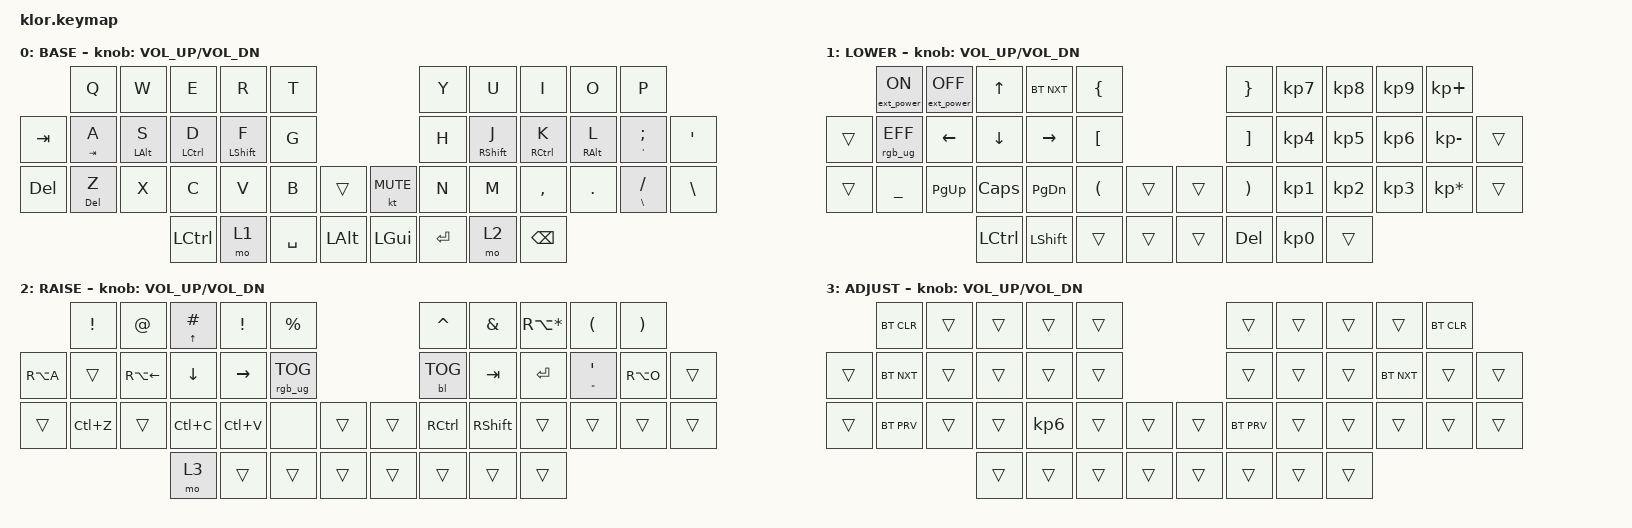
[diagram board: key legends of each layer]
//                               █         █    █            ▄▄▄▀▀▀▀▀▀▄▄▄        █▀▀▀▀▀▀▀▀▀▀█
//                               █        █     █          ▄▀            ▀▄      █          █
//                               █       █      █        ▄▀                ▀▄    █          █
//                               █      █       █        █                  █    █          █
//                               █     █        █       █                    █   █          █
//                               █    █         █       █                    █   █▄▄▄▄▄▄▄▄▄▄█
//                               █   █ █        █       █                    █   █      █
//                               █  █   █       █        █                  █    █       █
//                               █ █     █      █        ▀▄                ▄▀    █        █
//                               ██       █     █          ▀▄            ▄▀      █         █
//                               █         █    █▄▄▄▄▄▄▄▄    ▀▀▀▄▄▄▄▄▄▀▀▀        █          █
//
// ▄▄▄▄▄▄▄▄▄▄▄▄▄▄▄▄▄▄▄▄▄▄▄▄▄▄▄▄▄▄▄▄▄▄▄▄▄▄▄▄▄▄▄▄▄▄▄▄▄▄▄▄▄▄▄▄▄▄▄▄▄▄▄▄▄▄▄▄▄▄▄▄▄▄▄▄▄▄▄▄▄▄▄▄▄▄▄▄▄▄▄▄▄▄▄▄▄▄▄▄▄▄▄▄▄▄▄▄▄▄▄▄▄▄▄▄▄▄▄▄▄▄▄▄▄

#include <behaviors.dtsi>
#include <dt-bindings/zmk/backlight.h>
#include <dt-bindings/zmk/bt.h>
#include <dt-bindings/zmk/ext_power.h>
#include <dt-bindings/zmk/keys.h>
#include <dt-bindings/zmk/keys.h>
#include <dt-bindings/zmk/rgb.h>

#define BASE   0
#define LOWER  1
#define RAISE  2
#define ADJUST 3

/ {
    behaviors {
        hm: homerow_mods {
            compatible = "zmk,behavior-hold-tap";
            label = "HOMEROW_MODS";
            #binding-cells = <2>;
            tapping-term-ms = <250>;
            quick_tap_ms = <0>;
            flavor = "tap-preferred";
            bindings = <&kp>, <&kp>;
        };
    };

    combos {
        compatible = "zmk,combos";

        combo_esc {
            timeout-ms = <50>;
            key-positions = <0 1>;
            bindings = <&kp ESC>;
        };
    };

    keymap {
        compatible = "zmk,keymap";

        // ▄▄▄▄▄▄▄▄▄▄▄▄▄▄▄▄▄▄▄▄▄▄▄▄▄▄▄▄▄▄▄▄▄▄▄▄▄▄▄▄▄▄▄▄▄▄▄▄▄▄▄▄▄▄▄▄▄▄▄▄▄▄▄▄▄▄▄▄▄▄▄▄▄▄▄▄▄▄▄▄▄▄▄▄▄▄▄▄▄▄▄▄▄▄▄▄▄▄▄▄▄▄▄▄▄▄▄▄▄▄▄▄▄▄▄▄▄▄▄▄▄▄▄▄▄▄▄▄▄▄▄▄▄▄▄▄▄▄▄▄▄▄

        base_layer {
            // ┌───────────────────────────────────────────────────────────┐

            label = "BASE";

            // └───────────────────────────────────────────────────────────┘
            /*           ┌─────────┬─────────┬─────────┬─────────┬─────────┐                    ┌─────────┬─────────┬─────────┬─────────┬─────────┐
             │    Q    │    W    │    F    │    P    │    G    │                    │    J    │    L    │    U    │    Y    │    ;    │   
   ┌─────────┼─────────┼─────────┼─────────┼─────────┼─────────┤                    ├─────────┼─────────┼─────────┼─────────┼─────────┼─────────┐
   │   TAB   │    A    │    R    │    S    │    T    │    D    │                    │    H    │    N    │    E    │    I    │    O    │    "    │
   ├─────────┼─────────┼─────────┼─────────┼─────────┼─────────┤╭────────╮╭────────╮├─────────┼─────────┼─────────┼─────────┼─────────┼─────────┤
   │   DEL   │    Z    │    X    │    C    │    V    │    B    ││  MUTE  ││PLY/PSE ││    K    │    M    │    ,    │    .    │    /    │    \    │
   └─────────┴─────────┴─────────┼─────────┼─────────┼─────────┼╰────────╯╰────────╯┼─────────┼─────────┼─────────┼─────────┴─────────┴─────────┘
                                 │  CTRL   │  LOWER  │  SPACE  │   ALT   ││ CMD/WIN │  ENTER  │  RAISE  │  BSPCE  │  
                                 └─────────┴─────────┴─────────┴─────────┘└─────────┴─────────┴─────────┴─────────┘ */

            bindings = <
         &kp Q         &kp W           &kp E               &kp R             &kp T                            &kp Y    &kp U              &kp I                &kp O            &kp P
&kp TAB  &hm TAB A     &hm LEFT_ALT S  &hm LEFT_CONTROL D  &hm LEFT_SHIFT F  &kp G                            &kp H    &hm RIGHT_SHIFT J  &hm RIGHT_CONTROL K  &hm RIGHT_ALT L  &hm APOS SEMICOLON   &kp SQT
&kp DEL  &hm DELETE Z  &kp X           &kp C               &kp V             &kp B      &trans    &kt K_MUTE  &kp N    &kp M              &kp COMMA            &kp PERIOD       &mt BACKSLASH SLASH  &kp BSLH
                                       &kp LCTRL           &mo 1             &kp SPACE  &kp LALT  &kp LGUI    &kp RET  &mo 2              &kp BSPC
            >;

            sensor-bindings = <&inc_dec_kp C_VOL_UP C_VOL_DN>;
        };

        // ▄▄▄▄▄▄▄▄▄▄▄▄▄▄▄▄▄▄▄▄▄▄▄▄▄▄▄▄▄▄▄▄▄▄▄▄▄▄▄▄▄▄▄▄▄▄▄▄▄▄▄▄▄▄▄▄▄▄▄▄▄▄▄▄▄▄▄▄▄▄▄▄▄▄▄▄▄▄▄▄▄▄▄▄▄▄▄▄▄▄▄▄▄▄▄▄▄▄▄▄▄▄▄▄▄▄▄▄▄▄▄▄▄▄▄▄▄▄▄▄▄▄▄▄▄▄▄▄▄▄▄▄▄▄▄▄▄▄▄▄▄▄

        lower_layer {
            // ┌───────────────────────────────────────────────────────────┐

            label = "LOWER";

            // └───────────────────────────────────────────────────────────┘
            /*           ┌─────────┬─────────┬─────────┬─────────┬─────────┐                    ┌─────────┬─────────┬─────────┬─────────┬─────────┐
             │         │         │    UP   │         │    {    │                    │    }    │    7    │    8    │    9    │    +    │
   ┌─────────┼─────────┼─────────┼─────────┼─────────┼─────────┤                    ├─────────┼─────────┼─────────┼─────────┼─────────┼─────────┐
   │         │         │   LEFT  │  DOWN   │  RIGHT  │    [    │                    │    ]    │    4    │    5    │    6    │    -    │         │
   ├─────────┼─────────┼─────────┼─────────┼─────────┼─────────┤╭────────╮╭────────╮├─────────┼─────────┼─────────┼─────────┼─────────┼─────────┤
   │         │         │   P UP  │ C LOCK  │ P DOWN  │    (    ││        ││        ││    )    │    1    │    2    │    3    │    *    │         │
   └─────────┴─────────┴─────────┼─────────┼─────────┼─────────┼╰────────╯╰────────╯┼─────────┼─────────┼─────────┼─────────┴─────────┴─────────┘
                                 │         │         │         │         ││         │         │    0    │         │  
                                 └─────────┴─────────┴─────────┴─────────┘└─────────┴─────────┴─────────┴─────────┘ */

            bindings = <
        &ext_power EP_ON  &ext_power EP_OFF  &kp UP     &bt BT_NXT  &kp LBRC                  &kp RBRC    &kp KP_N7  &kp KP_N8  &kp KP_N9  &kp KP_PLUS
&trans  &rgb_ug RGB_EFF   &kp LEFT           &kp DOWN   &kp RIGHT   &kp LBKT                  &kp RBKT    &kp KP_N4  &kp KP_N5  &kp KP_N6  &kp KP_MINUS     &trans
&trans  &kp UNDER         &kp PG_UP          &kp CAPS   &kp PG_DN   &kp LPAR  &trans  &trans  &kp RPAR    &kp KP_N1  &kp KP_N2  &kp KP_N3  &kp KP_MULTIPLY  &trans
                                             &kp LCTRL  &kp LSHIFT  &trans    &trans  &trans  &kp DELETE  &kp KP_N0  &trans
            >;

            sensor-bindings = <&inc_dec_kp C_VOL_UP C_VOL_DN>;
        };

        // ▄▄▄▄▄▄▄▄▄▄▄▄▄▄▄▄▄▄▄▄▄▄▄▄▄▄▄▄▄▄▄▄▄▄▄▄▄▄▄▄▄▄▄▄▄▄▄▄▄▄▄▄▄▄▄▄▄▄▄▄▄▄▄▄▄▄▄▄▄▄▄▄▄▄▄▄▄▄▄▄▄▄▄▄▄▄▄▄▄▄▄▄▄▄▄▄▄▄▄▄▄▄▄▄▄▄▄▄▄▄▄▄▄▄▄▄▄▄▄▄▄▄▄▄▄

        raise_layer {
            // ┌───────────────────────────────────────────────────────────┐

            label = "RAISE";

            // └───────────────────────────────────────────────────────────┘
            /*           ┌─────────┬─────────┬─────────┬─────────┬─────────┐                    ┌─────────┬─────────┬─────────┬─────────┬─────────┐
             │         │         │         │         │         │                    │         │         │    Ü    │         │         │
   ┌─────────┼─────────┼─────────┼─────────┼─────────┼─────────┤                    ├─────────┼─────────┼─────────┼─────────┼─────────┼─────────┐
   │    Ä    │         │    ß    │         │         │         │                    │         │         │         │         │    Ö    │         │
   ├─────────┼─────────┼─────────┼─────────┼─────────┼─────────┤╭────────╮╭────────╮├─────────┼─────────┼─────────┼─────────┼─────────┼─────────┤
   │         │         │         │         │         │         ││        ││        ││         │         │         │         │         │         │
   └─────────┴─────────┴─────────┼─────────┼─────────┼─────────┼╰────────╯╰────────╯┼─────────┼─────────┼─────────┼─────────┴─────────┴─────────┘
                                 │ ADJUST  │         │         │         ││         │         │         │         │  
                                 └─────────┴─────────┴─────────┴─────────┘└─────────┴─────────┴─────────┴─────────┘ */

            bindings = <
           &kp EXCL   &kp AT        &mt UP_ARROW POUND  &kp EXCL   &kp PERCENT                      &kp CARET          &kp AMPS         &kp RA(ASTERISK)  &kp LEFT_PARENTHESIS            &kp RIGHT_PARENTHESIS
&kp RA(A)  &trans     &kp RA(LEFT)  &kp DOWN            &kp RIGHT  &rgb_ug RGB_TOG                  &bl BL_TOG         &kp TAB          &kp ENTER         &mt DOUBLE_QUOTES SINGLE_QUOTE  &kp RA(O)              &trans
&trans     &kp LC(Z)  &trans        &kp LC(C)           &kp LC(V)  &none            &trans  &trans  &kp RIGHT_CONTROL  &kp RIGHT_SHIFT  &trans            &trans                          &trans                 &trans
                                    &mo 3               &trans     &trans           &trans  &trans  &trans             &trans           &trans
            >;

            sensor-bindings = <&inc_dec_kp C_VOL_UP C_VOL_DN>;
        };

        // ▄▄▄▄▄▄▄▄▄▄▄▄▄▄▄▄▄▄▄▄▄▄▄▄▄▄▄▄▄▄▄▄▄▄▄▄▄▄▄▄▄▄▄▄▄▄▄▄▄▄▄▄▄▄▄▄▄▄▄▄▄▄▄▄▄▄▄▄▄▄▄▄▄▄▄▄▄▄▄▄▄▄▄▄▄▄▄▄▄▄▄▄▄▄▄▄▄▄▄▄▄▄▄▄▄▄▄▄▄▄▄▄▄▄▄▄▄▄▄▄▄▄▄▄▄

        adjust_layer {
            // ┌───────────────────────────────────────────────────────────┐

            label = "ADJUST";

            // └───────────────────────────────────────────────────────────┘
            /*           ┌─────────┬─────────┬─────────┬─────────┬─────────┐                    ┌─────────┬─────────┬─────────┬─────────┬─────────┐
             │         │         │         │         │         │                    │         │         │         │         │         │
   ┌─────────┼─────────┼─────────┼─────────┼─────────┼─────────┤                    ├─────────┼─────────┼─────────┼─────────┼─────────┼─────────┐
   │         │         │         │         │         │         │                    │         │         │         │         │         │         │
   ├─────────┼─────────┼─────────┼─────────┼─────────┼─────────┤╭────────╮╭────────╮├─────────┼─────────┼─────────┼─────────┼─────────┼─────────┤
   │         │         │         │         │         │         ││        ││        ││         │         │         │         │         │         │
   └─────────┴─────────┴─────────┼─────────┼─────────┼─────────┼╰────────╯╰────────╯┼─────────┼─────────┼─────────┼─────────┴─────────┴─────────┘
                                 │         │         │         │         ││         │         │         │         │  
                                 └─────────┴─────────┴─────────┴─────────┘└─────────┴─────────┴─────────┴─────────┘ */

            bindings = <
        &bt BT_CLR  &trans  &trans  &trans     &trans                  &trans      &trans  &trans  &trans      &bt BT_CLR
&trans  &bt BT_NXT  &trans  &trans  &trans     &trans                  &trans      &trans  &trans  &bt BT_NXT  &trans      &trans
&trans  &bt BT_PRV  &trans  &trans  &kp KP_N6  &trans  &trans  &trans  &bt BT_PRV  &trans  &trans  &trans      &trans      &trans
                            &trans  &trans     &trans  &trans  &trans  &trans      &trans  &trans
            >;

            sensor-bindings = <&inc_dec_kp C_VOL_UP C_VOL_DN>;
        };
    };
};
